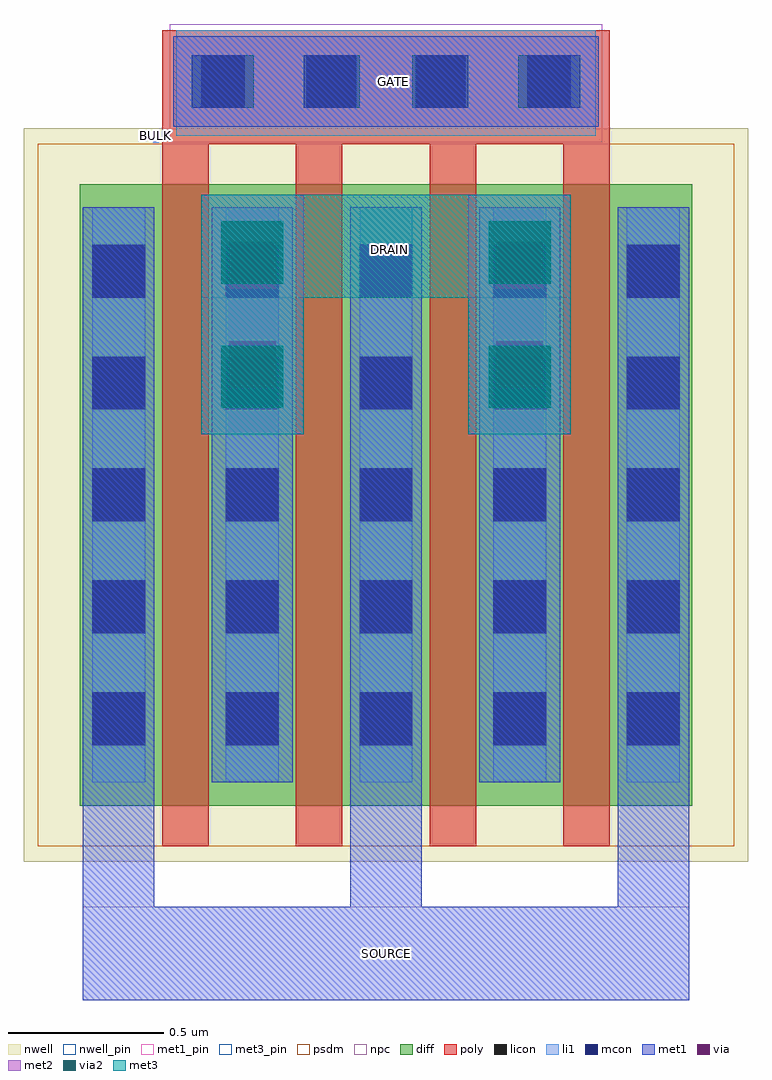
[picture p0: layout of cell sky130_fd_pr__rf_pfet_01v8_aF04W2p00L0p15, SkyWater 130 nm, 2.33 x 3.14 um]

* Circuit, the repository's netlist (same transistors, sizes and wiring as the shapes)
* Copyright 2020 The SkyWater PDK Authors
*
* Licensed under the Apache License, Version 2.0 (the "License");
* you may not use this file except in compliance with the License.
* You may obtain a copy of the License at
*
*     https://www.apache.org/licenses/LICENSE-2.0
*
* Unless required by applicable law or agreed to in writing, software
* distributed under the License is distributed on an "AS IS" BASIS,
* WITHOUT WARRANTIES OR CONDITIONS OF ANY KIND, either express or implied.
* See the License for the specific language governing permissions and
* limitations under the License.
*
* SPDX-License-Identifier: Apache-2.0


.subckt sky130_fd_pr__rf_pfet_01v8_aF04W2p00L0p15 BULK DRAIN GATE SOURCE
X0 SOURCE GATE DRAIN BULK sky130_fd_pr__pfet_01v8 w=2e+06u l=150000u
X1 DRAIN GATE SOURCE BULK sky130_fd_pr__pfet_01v8 w=2e+06u l=150000u
X2 SOURCE GATE DRAIN BULK sky130_fd_pr__pfet_01v8 w=2e+06u l=150000u
X3 DRAIN GATE SOURCE BULK sky130_fd_pr__pfet_01v8 w=2e+06u l=150000u
.ends

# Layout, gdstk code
import gdstk
lib = gdstk.Library(unit=1e-6, precision=1e-09)
def R(c, l, rs):  # rectangles x0, y0, x1, y1
    for r in rs: c.add(gdstk.rectangle(r[:2], r[2:], *l))
def A(c, l, x, y, w, h, nx, ny, dx, dy):  # array of equal rectangles
    R(c, l, [(x+i*dx, y+j*dy, x+i*dx+w, y+j*dy+h) for i in range(nx) for j in range(ny)])
nwell_pin = (64, 16)
nwell = (64, 20)
diff = (65, 20)
poly = (66, 20)
licon = (66, 44)
li1 = (67, 20)
mcon = (67, 44)
met1_pin = (68, 16)
met1 = (68, 20)
via = (68, 44)
met2 = (69, 20)
via2 = (69, 44)
met3_pin = (70, 16)
met3 = (70, 20)
psdm = (94, 20)
npc = (95, 20)

sky130_fd_pr__rf_pfet_01 = lib.new_cell('sky130_fd_pr__rf_pfet_01v8_aF04W2p00L0p15')
R(sky130_fd_pr__rf_pfet_01, nwell_pin, [(0.415,2.315,0.435,2.35)])
R(sky130_fd_pr__rf_pfet_01, nwell, [(0,0,2.33,2.36)])
A(sky130_fd_pr__rf_pfet_01, diff, 0.445, 0.18, 0.15, 2, 4, 1, 0.43, 0)
R(sky130_fd_pr__rf_pfet_01, diff, [(0.18,0.18,0.445,2.18), (0.21,0.18,0.445,2.18), (0.595,0.18,0.875,2.18), (1.025,0.18,1.305,2.18), (1.025,0.18,1.305,2.18), (1.055,0.18,1.305,2.18), (1.455,0.18,1.735,2.18), (1.885,0.18,2.15,2.18), (1.885,0.18,2.15,2.18), (1.915,0.18,2.15,2.18)])
A(sky130_fd_pr__rf_pfet_01, poly, 0.445, 0.05, 0.15, 0.13, 4, 2, 0.43, 2.13)
A(sky130_fd_pr__rf_pfet_01, poly, 0.445, 0.05, 0.15, 2.26, 4, 1, 0.43, 0)
R(sky130_fd_pr__rf_pfet_01, poly, [(0.445,2.31,1.885,2.675), (0.49,2.335,1.84,2.675)])
A(sky130_fd_pr__rf_pfet_01, licon, 0.22, 0.375, 0.17, 0.17, 5, 5, 0.43, 0.36)
A(sky130_fd_pr__rf_pfet_01, licon, 0.57, 2.425, 0.17, 0.17, 4, 1, 0.34, 0)
A(sky130_fd_pr__rf_pfet_01, li1, 0.22, 0.255, 0.17, 1.85, 5, 1, 0.43, 0)
R(sky130_fd_pr__rf_pfet_01, li1, [(0.49,2.335,1.84,2.675), (0.54,2.425,1.79,2.595)])
A(sky130_fd_pr__rf_pfet_01, mcon, 0.22, 0.375, 0.17, 0.17, 5, 5, 0.43, 0.36)
A(sky130_fd_pr__rf_pfet_01, mcon, 0.54, 2.425, 0.17, 0.17, 4, 1, 0.36, 0)
R(sky130_fd_pr__rf_pfet_01, met1_pin, [(0.19,-0.445,2.14,-0.145), (0.48,2.365,1.85,2.655)])
R(sky130_fd_pr__rf_pfet_01, met1, [(0.48,2.365,1.85,2.655)])
R(sky130_fd_pr__rf_pfet_01, via, [(0.66,1.525,0.81,1.675), (1.52,1.525,1.67,1.675), (0.66,1.845,0.81,1.995), (1.52,1.845,1.67,1.995)])
R(sky130_fd_pr__rf_pfet_01, met2, [(0.57,1.375,0.9,2.145), (1.43,1.375,1.76,2.145), (0.605,1.44,0.865,2.08), (1.465,1.44,1.725,2.08)])
R(sky130_fd_pr__rf_pfet_01, via2, [(0.635,1.46,0.835,1.66), (1.495,1.46,1.695,1.66), (0.635,1.86,0.835,2.06), (1.495,1.86,1.695,2.06)])
R(sky130_fd_pr__rf_pfet_01, met3_pin, [(0.57,1.815,1.76,2.145)])
R(sky130_fd_pr__rf_pfet_01, met3, [(0.57,1.375,0.9,2.145), (1.43,1.375,1.76,2.145)])
A(sky130_fd_pr__rf_pfet_01, psdm, 0.465, 0.05, 0.54, 2.26, 3, 1, 0.43, 0)
A(sky130_fd_pr__rf_pfet_01, psdm, 0.625, 0.05, 0.4, 2.26, 3, 1, 0.43, 0)
R(sky130_fd_pr__rf_pfet_01, psdm, [(0.045,0.05,0.575,2.31), (0.21,0.05,0.595,2.31), (1.755,0.05,2.285,2.31)])
R(sky130_fd_pr__rf_pfet_01, npc, [(0.47,2.315,1.86,2.695)])
sky130_fd_pr__rf_pfet_01.add(gdstk.FlexPath([(0.57,1.98),(1.76,1.98)], 0.33, ends="flush", simple_path=True, layer=70, datatype=20))  # met3
sky130_fd_pr__rf_pfet_01.add(gdstk.FlexPath([(2.025,2.105),(2.025,-0.445)], 0.23, ends="flush", simple_path=True, layer=68, datatype=20))  # met1
sky130_fd_pr__rf_pfet_01.add(gdstk.FlexPath([(1.165,2.105),(1.165,-0.445)], 0.23, ends="flush", simple_path=True, layer=68, datatype=20))  # met1
sky130_fd_pr__rf_pfet_01.add(gdstk.FlexPath([(0.305,2.105),(0.305,-0.445)], 0.23, ends="flush", simple_path=True, layer=68, datatype=20))  # met1
sky130_fd_pr__rf_pfet_01.add(gdstk.FlexPath([(0.19,-0.295),(2.14,-0.295)], 0.3, ends="flush", simple_path=True, layer=68, datatype=20))  # met1
sky130_fd_pr__rf_pfet_01.add(gdstk.FlexPath([(0.735,2.105),(0.735,0.255)], 0.26, ends="flush", simple_path=True, layer=68, datatype=20))  # met1
sky130_fd_pr__rf_pfet_01.add(gdstk.FlexPath([(1.595,2.105),(1.595,0.255)], 0.26, ends="flush", simple_path=True, layer=68, datatype=20))  # met1
sky130_fd_pr__rf_pfet_01.add(gdstk.Label('DRAIN', (1.175,1.97), layer=70, texttype=16))
sky130_fd_pr__rf_pfet_01.add(gdstk.Label('GATE', (1.19,2.51), layer=68, texttype=16))
sky130_fd_pr__rf_pfet_01.add(gdstk.Label('SOURCE', (1.165,-0.295), layer=68, texttype=16))
sky130_fd_pr__rf_pfet_01.add(gdstk.Label('BULK', (0.425,2.335), layer=64, texttype=5))

lib.write_gds('sky130_fd_pr__rf_pfet_01v8_aF04W2p00L0p15.gds')
